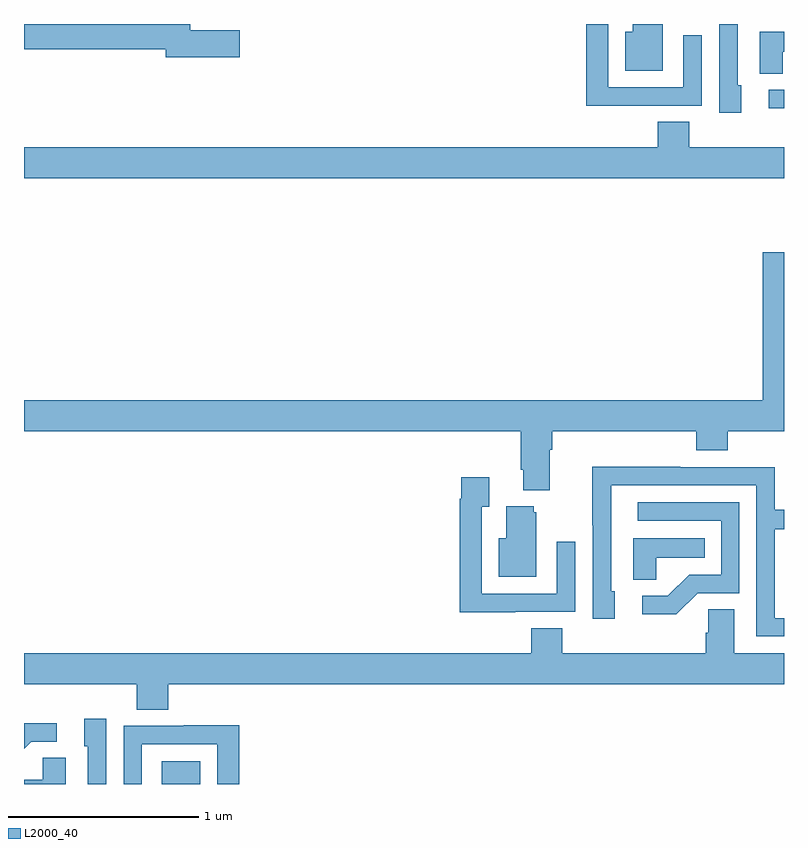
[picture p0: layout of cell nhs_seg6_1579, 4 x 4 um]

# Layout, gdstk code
import gdstk
lib = gdstk.Library(unit=1e-6, precision=1e-09)
def R(c, l, rs):  # rectangles x0, y0, x1, y1
    for r in rs: c.add(gdstk.rectangle(r[:2], r[2:], *l))
def P(c, l, *ps):  # polygons
    for p in ps: c.add(gdstk.Polygon(p, *l))
L2000_40 = (2000, 40)

nhs_seg6_1579 = lib.new_cell('nhs_seg6_1579')
R(nhs_seg6_1579, L2000_40, [(207.725,925.5,207.928,925.621), (210.921,929.057,211,929.154)])
P(nhs_seg6_1579, L2000_40, [(208.135,929.468),(207.874,929.468),(207.874,929.5),(207,929.5),(207,929.368),(207.746,929.368),(207.746,929.326),(208.135,929.326)],
  [(210.251,929.07),(210.567,929.07),(210.567,929.44),(210.471,929.44),(210.471,929.166),(210.075,929.166),(210.075,929.5),(209.959,929.5),(209.959,929.069),(210.251,929.069)],
  [(210.775,929.178),(210.756,929.178),(210.756,929.5),(210.66,929.5),(210.66,929.034),(210.775,929.034)],
  [(210.361,929.5),(210.203,929.5),(210.203,929.458),(210.164,929.458),(210.164,929.255),(210.361,929.255)],
  [(210.993,929.354),(211,929.354),(211,929.458),(210.872,929.458),(210.872,929.239),(210.993,929.239)],
  [(211,928.852),(210.5,928.852),(210.5,928.985),(210.335,928.985),(210.335,928.852),(207,928.852),(207,928.688),(211,928.688)],
  [(209.767,927.26),(209.78,927.26),(209.78,927.356),(210.539,927.356),(210.539,927.257),(210.704,927.257),(210.704,927.356),(211,927.356),(211,928.3),(210.887,928.3),(210.887,927.52),(207,927.52),(207,927.356),(209.615,927.356),(209.615,927.154),(209.627,927.154),(209.627,927.047),(209.767,927.047)],
  [(211,926.373),(210.951,926.373),(210.951,926.842),(211,926.842),(211,926.943),(210.951,926.943),(210.951,927.168),(210.455,927.168),(210.455,927.17),(209.992,927.17),(209.992,926.863),(209.994,926.863),(209.994,926.37),(210.109,926.37),(210.109,926.514),(210.09,926.514),(210.09,927.072),(210.855,927.072),(210.855,926.277),(211,926.277)],
  [(209.585,926.406),(209.901,926.406),(209.901,926.776),(209.805,926.776),(209.805,926.502),(209.409,926.502),(209.409,926.959),(209.449,926.959),(209.449,927.115),(209.301,927.115),(209.301,927.002),(209.293,927.002),(209.293,926.405),(209.585,926.405)],
  [(210.546,926.505),(210.765,926.505),(210.765,926.982),(210.231,926.982),(210.231,926.886),(210.669,926.886),(210.669,926.601),(210.5,926.601),(210.389,926.49),(210.255,926.49),(210.255,926.393),(210.433,926.393)],
  [(209.695,926.931),(209.684,926.931),(209.684,926.962),(209.537,926.962),(209.537,926.794),(209.498,926.794),(209.498,926.591),(209.695,926.591)],
  [(210.327,926.69),(210.584,926.69),(210.584,926.794),(210.206,926.794),(210.206,926.575),(210.327,926.575)],
  [(207.758,926.024),(211,926.024),(211,926.188),(210.739,926.188),(210.739,926.42),(210.6,926.42),(210.6,926.297),(210.587,926.297),(210.587,926.188),(209.834,926.188),(209.834,926.321),(209.669,926.321),(209.669,926.188),(207,926.188),(207,926.024),(207.593,926.024),(207.593,925.891),(207.758,925.891)],
  [(207.432,925.843),(207.317,925.843),(207.317,925.698),(207.336,925.698),(207.336,925.5),(207.432,925.5)],
  [(207.037,925.722),(207.172,925.722),(207.172,925.82),(207,925.82),(207,925.685)],
  [(207.621,925.71),(208.017,925.71),(208.017,925.5),(208.133,925.5),(208.133,925.808),(207.841,925.808),(207.841,925.806),(207.525,925.806),(207.525,925.5),(207.621,925.5)],
  [(207.22,925.637),(207.099,925.637),(207.099,925.522),(207,925.522),(207,925.5),(207.22,925.5)])

lib.write_gds('nhs_seg6_1579.gds')
